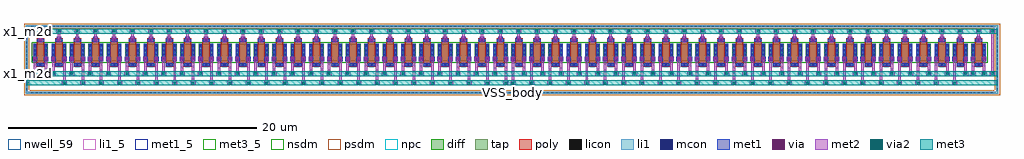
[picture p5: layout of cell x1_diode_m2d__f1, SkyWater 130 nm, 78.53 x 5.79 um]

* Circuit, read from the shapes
.subckt x1_diode_m2d__f1 VSS_body bias_d x1_m2d
XM1 x1_m2d x1_m2d x1_m2d VSS_body sky130_fd_pr__nfet_01v8 w=1.4 l=0.6 m=2
XM2 bias_d x1_m2d x1_m2d VSS_body sky130_fd_pr__nfet_01v8 w=1.4 l=0.6 m=50
.ends

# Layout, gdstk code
from math import pi, radians
import gdstk
lib = gdstk.Library(unit=1e-6, precision=1e-09)
def R(c, l, rs):  # rectangles x0, y0, x1, y1
    for r in rs: c.add(gdstk.rectangle(r[:2], r[2:], *l))
def A(c, l, x, y, w, h, nx, ny, dx, dy):  # array of equal rectangles
    R(c, l, [(x+i*dx, y+j*dy, x+i*dx+w, y+j*dy+h) for i in range(nx) for j in range(ny)])
nwell_59 = (64, 59)
diff = (65, 20)
tap = (65, 44)
poly = (66, 20)
licon = (66, 44)
li1_5 = (67, 5)
li1 = (67, 20)
mcon = (67, 44)
met1_5 = (68, 5)
met1 = (68, 20)
via = (68, 44)
met2 = (69, 20)
via2 = (69, 44)
met3_5 = (70, 5)
met3 = (70, 20)
nsdm = (93, 44)
psdm = (94, 20)
npc = (95, 20)

sky130_fd_pr__nfet_01v8_ = lib.new_cell('sky130_fd_pr__nfet_01v8_KCM6UP')
R(sky130_fd_pr__nfet_01v8_, diff, [(-0.59,-0.7,0.59,0.7)])
R(sky130_fd_pr__nfet_01v8_, poly, [(-0.3,-1.14,0.3,1.14)])
A(sky130_fd_pr__nfet_01v8_, licon, -0.53, -0.595, 0.17, 0.17, 1, 4, 0, 0.34)
A(sky130_fd_pr__nfet_01v8_, licon, 0.36, -0.595, 0.17, 0.17, 1, 4, 0, 0.34)
R(sky130_fd_pr__nfet_01v8_, licon, [(-0.085,-1.06,0.085,-0.89), (-0.085,0.89,0.085,1.06)])
R(sky130_fd_pr__nfet_01v8_, li1, [(-0.3,-1.06,0.3,-0.89), (-0.53,-0.72,-0.36,0.72), (0.36,-0.72,0.53,0.72), (-0.3,0.89,0.3,1.06)])
A(sky130_fd_pr__nfet_01v8_, mcon, -0.53, -0.625, 0.17, 0.17, 1, 4, 0, 0.36)
A(sky130_fd_pr__nfet_01v8_, mcon, 0.36, -0.625, 0.17, 0.17, 1, 4, 0, 0.36)
R(sky130_fd_pr__nfet_01v8_, mcon, [(-0.085,-1.06,0.085,-0.89), (-0.085,0.89,0.085,1.06)])
R(sky130_fd_pr__nfet_01v8_, met1, [(-0.28,-1.09,0.28,-0.86), (-0.56,-0.7,-0.33,0.7), (0.33,-0.7,0.56,0.7), (-0.28,0.86,0.28,1.09)])
R(sky130_fd_pr__nfet_01v8_, nsdm, [(-0.715,-0.825,0.715,0.825)])
R(sky130_fd_pr__nfet_01v8_, npc, [(-0.185,-1.16,0.185,-0.79), (-0.185,0.79,0.185,1.16)])
sky130_fd_pr__nfet_01v8_.add(gdstk.Label('D', (-0.445,0), layer=67, texttype=5))
sky130_fd_pr__nfet_01v8_.add(gdstk.Label('S', (0.445,0), layer=67, texttype=5))
sky130_fd_pr__nfet_01v8_.add(gdstk.Label('G', (0,0.975), layer=67, texttype=5))

nfet_01v8_w1p4_l0p6_m2__ = lib.new_cell('nfet_01v8_W1p4_L0p6_m2__nf1_gboth_sdfull_ng')
R(nfet_01v8_w1p4_l0p6_m2__, nwell_59, [(0.05,1.09,0.15,1.19)])
R(nfet_01v8_w1p4_l0p6_m2__, met1_5, [(0.03,1.14,0.26,1.34), (0.92,1.14,1.15,1.34), (0.31,2,0.87,2.23)])
R(nfet_01v8_w1p4_l0p6_m2__, met1, [(0.03,1.14,0.26,1.34), (0.92,1.14,1.15,1.34), (0.31,2,0.87,2.23)])
nfet_01v8_w1p4_l0p6_m2__.add(gdstk.Reference(sky130_fd_pr__nfet_01v8_, (0.59,1.14)))
nfet_01v8_w1p4_l0p6_m2__.add(gdstk.Label('D', (0.145,1.24), layer=68, texttype=5))
nfet_01v8_w1p4_l0p6_m2__.add(gdstk.Label('S', (1.035,1.24), layer=68, texttype=5))
nfet_01v8_w1p4_l0p6_m2__.add(gdstk.Label('G', (0.59,2.115), layer=68, texttype=5))
nfet_01v8_w1p4_l0p6_m2__.add(gdstk.Label('B', (0.1,1.14), layer=64, texttype=59))

nfet_01v8_w1p4_l0p6_m50_ = lib.new_cell('nfet_01v8_W1p4_L0p6_m50__nf1_gboth_sdfull_ng')
R(nfet_01v8_w1p4_l0p6_m50_, nwell_59, [(0.05,1.09,0.15,1.19)])
R(nfet_01v8_w1p4_l0p6_m50_, met1_5, [(0.03,1.14,0.26,1.34), (0.92,1.14,1.15,1.34), (0.31,2,0.87,2.23)])
R(nfet_01v8_w1p4_l0p6_m50_, met1, [(0.03,1.14,0.26,1.34), (0.92,1.14,1.15,1.34), (0.31,2,0.87,2.23)])
nfet_01v8_w1p4_l0p6_m50_.add(gdstk.Reference(sky130_fd_pr__nfet_01v8_, (0.59,1.14)))
nfet_01v8_w1p4_l0p6_m50_.add(gdstk.Label('D', (0.145,1.24), layer=68, texttype=5))
nfet_01v8_w1p4_l0p6_m50_.add(gdstk.Label('S', (1.035,1.24), layer=68, texttype=5))
nfet_01v8_w1p4_l0p6_m50_.add(gdstk.Label('G', (0.59,2.115), layer=68, texttype=5))
nfet_01v8_w1p4_l0p6_m50_.add(gdstk.Label('B', (0.1,1.14), layer=64, texttype=59))

x1_diode_m2d__f1 = lib.new_cell('x1_diode_m2d__f1')
R(x1_diode_m2d__f1, tap, [(-0.485,-2.185,77.795,-2.015), (-0.485,-2.015,-0.315,3.185), (77.625,-2.015,77.795,3.185), (-0.485,3.185,77.795,3.355)])
A(x1_diode_m2d__f1, licon, -0.02, -2.185, 0.17, 0.17, 228, 2, 0.34, 5.37)
A(x1_diode_m2d__f1, licon, -0.485, -1.88, 0.17, 0.17, 1, 15, 0, 0.34)
A(x1_diode_m2d__f1, licon, 77.625, -1.88, 0.17, 0.17, 1, 15, 0, 0.34)
R(x1_diode_m2d__f1, li1_5, [(38.605,-2.15,38.705,-2.05)])
R(x1_diode_m2d__f1, li1, [(-0.485,-2.185,77.795,-2.015), (-0.485,-2.015,-0.315,3.185), (77.625,-2.015,77.795,3.185), (-0.485,3.185,77.795,3.355)])
A(x1_diode_m2d__f1, met1, 0.535, 2.05, 0.36, 0.36, 52, 1, 1.48, 0)
R(x1_diode_m2d__f1, met1, [(0.09,0.46,0.45,0.82), (0.98,0.46,1.34,0.82), (1.57,0.46,1.93,0.82), (2.46,0.46,2.82,0.82), (3.05,0.46,3.41,0.82), (3.94,0.46,4.3,0.82), (4.53,0.46,4.89,0.82), (5.42,0.46,5.78,0.82), (6.01,0.46,6.37,0.82), (6.9,0.46,7.26,0.82), (7.49,0.46,7.85,0.82), (8.38,0.46,8.74,0.82), (8.97,0.46,9.33,0.82), (9.86,0.46,10.22,0.82), (10.45,0.46,10.81,0.82), (11.34,0.46,11.7,0.82), (11.93,0.46,12.29,0.82), (12.82,0.46,13.18,0.82), (13.41,0.46,13.77,0.82), (14.3,0.46,14.66,0.82), (14.89,0.46,15.25,0.82), (15.78,0.46,16.14,0.82), (16.37,0.46,16.73,0.82), (17.26,0.46,17.62,0.82), (17.85,0.46,18.21,0.82), (18.74,0.46,19.1,0.82), (19.33,0.46,19.69,0.82), (20.22,0.46,20.58,0.82), (20.81,0.46,21.17,0.82), (21.7,0.46,22.06,0.82), (22.29,0.46,22.65,0.82), (23.18,0.46,23.54,0.82), (23.77,0.46,24.13,0.82), (24.66,0.46,25.02,0.82), (25.25,0.46,25.61,0.82), (26.14,0.46,26.5,0.82), (26.73,0.46,27.09,0.82), (27.62,0.46,27.98,0.82), (28.21,0.46,28.57,0.82), (29.1,0.46,29.46,0.82), (29.69,0.46,30.05,0.82), (30.58,0.46,30.94,0.82), (31.17,0.46,31.53,0.82), (32.06,0.46,32.42,0.82), (32.65,0.46,33.01,0.82), (33.54,0.46,33.9,0.82), (34.13,0.46,34.49,0.82), (35.02,0.46,35.38,0.82), (35.61,0.46,35.97,0.82), (36.5,0.46,36.86,0.82), (37.09,0.46,37.45,0.82), (37.98,0.46,38.34,0.82), (38.57,0.46,38.93,0.82), (39.46,0.46,39.82,0.82), (40.05,0.46,40.41,0.82), (40.94,0.46,41.3,0.82), (41.53,0.46,41.89,0.82), (42.42,0.46,42.78,0.82), (43.01,0.46,43.37,0.82), (43.9,0.46,44.26,0.82), (44.49,0.46,44.85,0.82), (45.38,0.46,45.74,0.82), (45.97,0.46,46.33,0.82), (46.86,0.46,47.22,0.82), (47.45,0.46,47.81,0.82), (48.34,0.46,48.7,0.82), (48.93,0.46,49.29,0.82), (49.82,0.46,50.18,0.82), (50.41,0.46,50.77,0.82), (51.3,0.46,51.66,0.82), (51.89,0.46,52.25,0.82), (52.78,0.46,53.14,0.82), (53.37,0.46,53.73,0.82), (54.26,0.46,54.62,0.82), (54.85,0.46,55.21,0.82), (55.74,0.46,56.1,0.82), (56.33,0.46,56.69,0.82), (57.22,0.46,57.58,0.82), (57.81,0.46,58.17,0.82), (58.7,0.46,59.06,0.82), (59.29,0.46,59.65,0.82), (60.18,0.46,60.54,0.82), (60.77,0.46,61.13,0.82), (61.66,0.46,62.02,0.82), (62.25,0.46,62.61,0.82), (63.14,0.46,63.5,0.82), (63.73,0.46,64.09,0.82), (64.62,0.46,64.98,0.82), (65.21,0.46,65.57,0.82), (66.1,0.46,66.46,0.82), (66.69,0.46,67.05,0.82), (67.58,0.46,67.94,0.82), (68.17,0.46,68.53,0.82), (69.06,0.46,69.42,0.82), (69.65,0.46,70.01,0.82), (70.54,0.46,70.9,0.82), (71.13,0.46,71.49,0.82), (72.02,0.46,72.38,0.82), (72.61,0.46,72.97,0.82), (73.5,0.46,73.86,0.82), (74.09,0.46,74.45,0.82), (74.98,0.46,75.34,0.82), (75.57,0.46,75.93,0.82), (76.46,0.46,76.82,0.82)])
A(x1_diode_m2d__f1, via, 0.64, 2.155, 0.15, 0.15, 52, 1, 1.48, 0)
R(x1_diode_m2d__f1, via, [(0.195,0.565,0.345,0.715), (1.085,0.565,1.235,0.715), (1.675,0.565,1.825,0.715), (2.565,0.565,2.715,0.715), (3.155,0.565,3.305,0.715), (4.045,0.565,4.195,0.715), (4.635,0.565,4.785,0.715), (5.525,0.565,5.675,0.715), (6.115,0.565,6.265,0.715), (7.005,0.565,7.155,0.715), (7.595,0.565,7.745,0.715), (8.485,0.565,8.635,0.715), (9.075,0.565,9.225,0.715), (9.965,0.565,10.115,0.715), (10.555,0.565,10.705,0.715), (11.445,0.565,11.595,0.715), (12.035,0.565,12.185,0.715), (12.925,0.565,13.075,0.715), (13.515,0.565,13.665,0.715), (14.405,0.565,14.555,0.715), (14.995,0.565,15.145,0.715), (15.885,0.565,16.035,0.715), (16.475,0.565,16.625,0.715), (17.365,0.565,17.515,0.715), (17.955,0.565,18.105,0.715), (18.845,0.565,18.995,0.715), (19.435,0.565,19.585,0.715), (20.325,0.565,20.475,0.715), (20.915,0.565,21.065,0.715), (21.805,0.565,21.955,0.715), (22.395,0.565,22.545,0.715), (23.285,0.565,23.435,0.715), (23.875,0.565,24.025,0.715), (24.765,0.565,24.915,0.715), (25.355,0.565,25.505,0.715), (26.245,0.565,26.395,0.715), (26.835,0.565,26.985,0.715), (27.725,0.565,27.875,0.715), (28.315,0.565,28.465,0.715), (29.205,0.565,29.355,0.715), (29.795,0.565,29.945,0.715), (30.685,0.565,30.835,0.715), (31.275,0.565,31.425,0.715), (32.165,0.565,32.315,0.715), (32.755,0.565,32.905,0.715), (33.645,0.565,33.795,0.715), (34.235,0.565,34.385,0.715), (35.125,0.565,35.275,0.715), (35.715,0.565,35.865,0.715), (36.605,0.565,36.755,0.715), (37.195,0.565,37.345,0.715), (38.085,0.565,38.235,0.715), (38.675,0.565,38.825,0.715), (39.565,0.565,39.715,0.715), (40.155,0.565,40.305,0.715), (41.045,0.565,41.195,0.715), (41.635,0.565,41.785,0.715), (42.525,0.565,42.675,0.715), (43.115,0.565,43.265,0.715), (44.005,0.565,44.155,0.715), (44.595,0.565,44.745,0.715), (45.485,0.565,45.635,0.715), (46.075,0.565,46.225,0.715), (46.965,0.565,47.115,0.715), (47.555,0.565,47.705,0.715), (48.445,0.565,48.595,0.715), (49.035,0.565,49.185,0.715), (49.925,0.565,50.075,0.715), (50.515,0.565,50.665,0.715), (51.405,0.565,51.555,0.715), (51.995,0.565,52.145,0.715), (52.885,0.565,53.035,0.715), (53.475,0.565,53.625,0.715), (54.365,0.565,54.515,0.715), (54.955,0.565,55.105,0.715), (55.845,0.565,55.995,0.715), (56.435,0.565,56.585,0.715), (57.325,0.565,57.475,0.715), (57.915,0.565,58.065,0.715), (58.805,0.565,58.955,0.715), (59.395,0.565,59.545,0.715), (60.285,0.565,60.435,0.715), (60.875,0.565,61.025,0.715), (61.765,0.565,61.915,0.715), (62.355,0.565,62.505,0.715), (63.245,0.565,63.395,0.715), (63.835,0.565,63.985,0.715), (64.725,0.565,64.875,0.715), (65.315,0.565,65.465,0.715), (66.205,0.565,66.355,0.715), (66.795,0.565,66.945,0.715), (67.685,0.565,67.835,0.715), (68.275,0.565,68.425,0.715), (69.165,0.565,69.315,0.715), (69.755,0.565,69.905,0.715), (70.645,0.565,70.795,0.715), (71.235,0.565,71.385,0.715), (72.125,0.565,72.275,0.715), (72.715,0.565,72.865,0.715), (73.605,0.565,73.755,0.715), (74.195,0.565,74.345,0.715), (75.085,0.565,75.235,0.715), (75.675,0.565,75.825,0.715), (76.565,0.565,76.715,0.715)])
A(x1_diode_m2d__f1, met2, 2.44, -1.5, 0.4, 0.4, 25, 1, 1.48, 0)
A(x1_diode_m2d__f1, met2, 38.55, -1.5, 0.4, 0.4, 25, 1, 1.48, 0)
A(x1_diode_m2d__f1, met2, 2.54, -1.1, 0.2, 1.58, 25, 1, 1.48, 0)
A(x1_diode_m2d__f1, met2, 38.65, -1.1, 0.2, 1.58, 25, 1, 1.48, 0)
A(x1_diode_m2d__f1, met2, 1.55, -0.75, 0.4, 0.4, 25, 1, 1.48, 0)
A(x1_diode_m2d__f1, met2, 39.44, -0.75, 0.4, 0.4, 25, 1, 1.48, 0)
A(x1_diode_m2d__f1, met2, 1.65, -0.35, 0.2, 0.83, 25, 1, 1.48, 0)
A(x1_diode_m2d__f1, met2, 39.54, -0.35, 0.2, 0.83, 25, 1, 1.48, 0)
A(x1_diode_m2d__f1, met2, 0.585, 2.07, 0.26, 0.32, 52, 1, 1.48, 0)
A(x1_diode_m2d__f1, met2, 0.615, 2.39, 0.2, 0.28, 52, 1, 1.48, 0)
A(x1_diode_m2d__f1, met2, 0.515, 2.67, 0.4, 0.4, 52, 1, 1.48, 0)
R(x1_diode_m2d__f1, met2, [(0.07,-0.75,0.47,-0.35), (0.96,-0.75,1.36,-0.35), (75.55,-0.75,75.95,-0.35), (76.44,-0.75,76.84,-0.35), (77.11,-0.75,77.51,-0.35), (0.17,-0.35,0.37,0.48), (1.06,-0.35,1.26,0.48), (75.65,-0.35,75.85,0.48), (76.54,-0.35,76.74,0.48), (77.21,-0.35,77.41,2.67), (0.14,0.48,0.4,0.8), (1.03,0.48,1.29,0.8), (1.62,0.48,1.88,0.8), (2.51,0.48,2.77,0.8), (3.1,0.48,3.36,0.8), (3.99,0.48,4.25,0.8), (4.58,0.48,4.84,0.8), (5.47,0.48,5.73,0.8), (6.06,0.48,6.32,0.8), (6.95,0.48,7.21,0.8), (7.54,0.48,7.8,0.8), (8.43,0.48,8.69,0.8), (9.02,0.48,9.28,0.8), (9.91,0.48,10.17,0.8), (10.5,0.48,10.76,0.8), (11.39,0.48,11.65,0.8), (11.98,0.48,12.24,0.8), (12.87,0.48,13.13,0.8), (13.46,0.48,13.72,0.8), (14.35,0.48,14.61,0.8), (14.94,0.48,15.2,0.8), (15.83,0.48,16.09,0.8), (16.42,0.48,16.68,0.8), (17.31,0.48,17.57,0.8), (17.9,0.48,18.16,0.8), (18.79,0.48,19.05,0.8), (19.38,0.48,19.64,0.8), (20.27,0.48,20.53,0.8), (20.86,0.48,21.12,0.8), (21.75,0.48,22.01,0.8), (22.34,0.48,22.6,0.8), (23.23,0.48,23.49,0.8), (23.82,0.48,24.08,0.8), (24.71,0.48,24.97,0.8), (25.3,0.48,25.56,0.8), (26.19,0.48,26.45,0.8), (26.78,0.48,27.04,0.8), (27.67,0.48,27.93,0.8), (28.26,0.48,28.52,0.8), (29.15,0.48,29.41,0.8), (29.74,0.48,30,0.8), (30.63,0.48,30.89,0.8), (31.22,0.48,31.48,0.8), (32.11,0.48,32.37,0.8), (32.7,0.48,32.96,0.8), (33.59,0.48,33.85,0.8), (34.18,0.48,34.44,0.8), (35.07,0.48,35.33,0.8), (35.66,0.48,35.92,0.8), (36.55,0.48,36.81,0.8), (37.14,0.48,37.4,0.8), (38.03,0.48,38.29,0.8), (38.62,0.48,38.88,0.8), (39.51,0.48,39.77,0.8), (40.1,0.48,40.36,0.8), (40.99,0.48,41.25,0.8), (41.58,0.48,41.84,0.8), (42.47,0.48,42.73,0.8), (43.06,0.48,43.32,0.8), (43.95,0.48,44.21,0.8), (44.54,0.48,44.8,0.8), (45.43,0.48,45.69,0.8), (46.02,0.48,46.28,0.8), (46.91,0.48,47.17,0.8), (47.5,0.48,47.76,0.8), (48.39,0.48,48.65,0.8), (48.98,0.48,49.24,0.8), (49.87,0.48,50.13,0.8), (50.46,0.48,50.72,0.8), (51.35,0.48,51.61,0.8), (51.94,0.48,52.2,0.8), (52.83,0.48,53.09,0.8), (53.42,0.48,53.68,0.8), (54.31,0.48,54.57,0.8), (54.9,0.48,55.16,0.8), (55.79,0.48,56.05,0.8), (56.38,0.48,56.64,0.8), (57.27,0.48,57.53,0.8), (57.86,0.48,58.12,0.8), (58.75,0.48,59.01,0.8), (59.34,0.48,59.6,0.8), (60.23,0.48,60.49,0.8), (60.82,0.48,61.08,0.8), (61.71,0.48,61.97,0.8), (62.3,0.48,62.56,0.8), (63.19,0.48,63.45,0.8), (63.78,0.48,64.04,0.8), (64.67,0.48,64.93,0.8), (65.26,0.48,65.52,0.8), (66.15,0.48,66.41,0.8), (66.74,0.48,67,0.8), (67.63,0.48,67.89,0.8), (68.22,0.48,68.48,0.8), (69.11,0.48,69.37,0.8), (69.7,0.48,69.96,0.8), (70.59,0.48,70.85,0.8), (71.18,0.48,71.44,0.8), (72.07,0.48,72.33,0.8), (72.66,0.48,72.92,0.8), (73.55,0.48,73.81,0.8), (74.14,0.48,74.4,0.8), (75.03,0.48,75.29,0.8), (75.62,0.48,75.88,0.8), (76.51,0.48,76.77,0.8), (77.11,2.67,77.51,3.07)])
A(x1_diode_m2d__f1, via2, 2.54, -1.4, 0.2, 0.2, 25, 1, 1.48, 0)
A(x1_diode_m2d__f1, via2, 38.65, -1.4, 0.2, 0.2, 25, 1, 1.48, 0)
A(x1_diode_m2d__f1, via2, 1.65, -0.65, 0.2, 0.2, 25, 1, 1.48, 0)
A(x1_diode_m2d__f1, via2, 39.54, -0.65, 0.2, 0.2, 25, 1, 1.48, 0)
A(x1_diode_m2d__f1, via2, 0.615, 2.77, 0.2, 0.2, 52, 1, 1.48, 0)
R(x1_diode_m2d__f1, via2, [(0.17,-0.65,0.37,-0.45), (1.06,-0.65,1.26,-0.45), (75.65,-0.65,75.85,-0.45), (76.54,-0.65,76.74,-0.45), (77.21,-0.65,77.41,-0.45), (77.21,2.77,77.41,2.97)])
R(x1_diode_m2d__f1, met3_5, [(-0.3,-1.35,-0.2,-1.25), (-0.3,-0.6,-0.2,-0.5), (-0.3,2.82,-0.2,2.92)])
R(x1_diode_m2d__f1, met3, [(-0.4,-1.5,77.71,-1.1), (-0.4,-0.75,77.71,-0.35), (-0.4,2.67,77.71,3.07)])
A(x1_diode_m2d__f1, nsdm, 1.435, 0.315, 0.05, 1.65, 51, 1, 1.48, 0)
R(x1_diode_m2d__f1, psdm, [(-0.61,-2.31,77.92,-1.89), (-0.61,-1.89,-0.19,3.06), (77.5,-1.89,77.92,3.06), (-0.61,3.06,77.92,3.48)])
x1_diode_m2d__f1.add(gdstk.Reference(nfet_01v8_w1p4_l0p6_m2__, (75.61,0)))
x1_diode_m2d__f1.add(gdstk.Reference(nfet_01v8_w1p4_l0p6_m2__, (0.13,0)))
x1_diode_m2d__f1.add(gdstk.Reference(nfet_01v8_w1p4_l0p6_m50_, (1.61,0)))
x1_diode_m2d__f1.add(gdstk.Reference(nfet_01v8_w1p4_l0p6_m50_, (3.09,0)))
x1_diode_m2d__f1.add(gdstk.Reference(nfet_01v8_w1p4_l0p6_m50_, (4.57,0)))
x1_diode_m2d__f1.add(gdstk.Reference(nfet_01v8_w1p4_l0p6_m50_, (6.05,0)))
x1_diode_m2d__f1.add(gdstk.Reference(nfet_01v8_w1p4_l0p6_m50_, (7.53,0)))
x1_diode_m2d__f1.add(gdstk.Reference(nfet_01v8_w1p4_l0p6_m50_, (9.01,0)))
x1_diode_m2d__f1.add(gdstk.Reference(nfet_01v8_w1p4_l0p6_m50_, (10.49,0)))
x1_diode_m2d__f1.add(gdstk.Reference(nfet_01v8_w1p4_l0p6_m50_, (11.97,0)))
x1_diode_m2d__f1.add(gdstk.Reference(nfet_01v8_w1p4_l0p6_m50_, (13.45,0)))
x1_diode_m2d__f1.add(gdstk.Reference(nfet_01v8_w1p4_l0p6_m50_, (14.93,0)))
x1_diode_m2d__f1.add(gdstk.Reference(nfet_01v8_w1p4_l0p6_m50_, (16.41,0)))
x1_diode_m2d__f1.add(gdstk.Reference(nfet_01v8_w1p4_l0p6_m50_, (17.89,0)))
x1_diode_m2d__f1.add(gdstk.Reference(nfet_01v8_w1p4_l0p6_m50_, (19.37,0)))
x1_diode_m2d__f1.add(gdstk.Reference(nfet_01v8_w1p4_l0p6_m50_, (20.85,0)))
x1_diode_m2d__f1.add(gdstk.Reference(nfet_01v8_w1p4_l0p6_m50_, (22.33,0)))
x1_diode_m2d__f1.add(gdstk.Reference(nfet_01v8_w1p4_l0p6_m50_, (23.81,0)))
x1_diode_m2d__f1.add(gdstk.Reference(nfet_01v8_w1p4_l0p6_m50_, (25.29,0)))
x1_diode_m2d__f1.add(gdstk.Reference(nfet_01v8_w1p4_l0p6_m50_, (26.77,0)))
x1_diode_m2d__f1.add(gdstk.Reference(nfet_01v8_w1p4_l0p6_m50_, (28.25,0)))
x1_diode_m2d__f1.add(gdstk.Reference(nfet_01v8_w1p4_l0p6_m50_, (29.73,0)))
x1_diode_m2d__f1.add(gdstk.Reference(nfet_01v8_w1p4_l0p6_m50_, (31.21,0)))
x1_diode_m2d__f1.add(gdstk.Reference(nfet_01v8_w1p4_l0p6_m50_, (32.69,0)))
x1_diode_m2d__f1.add(gdstk.Reference(nfet_01v8_w1p4_l0p6_m50_, (34.17,0)))
x1_diode_m2d__f1.add(gdstk.Reference(nfet_01v8_w1p4_l0p6_m50_, (35.65,0)))
x1_diode_m2d__f1.add(gdstk.Reference(nfet_01v8_w1p4_l0p6_m50_, (37.13,0)))
x1_diode_m2d__f1.add(gdstk.Reference(nfet_01v8_w1p4_l0p6_m50_, (39.79,0), rotation=pi, x_reflection=True))
x1_diode_m2d__f1.add(gdstk.Reference(nfet_01v8_w1p4_l0p6_m50_, (41.27,0), rotation=pi, x_reflection=True))
x1_diode_m2d__f1.add(gdstk.Reference(nfet_01v8_w1p4_l0p6_m50_, (42.75,0), rotation=pi, x_reflection=True))
x1_diode_m2d__f1.add(gdstk.Reference(nfet_01v8_w1p4_l0p6_m50_, (44.23,0), rotation=pi, x_reflection=True))
x1_diode_m2d__f1.add(gdstk.Reference(nfet_01v8_w1p4_l0p6_m50_, (45.71,0), rotation=pi, x_reflection=True))
x1_diode_m2d__f1.add(gdstk.Reference(nfet_01v8_w1p4_l0p6_m50_, (47.19,0), rotation=pi, x_reflection=True))
x1_diode_m2d__f1.add(gdstk.Reference(nfet_01v8_w1p4_l0p6_m50_, (48.67,0), rotation=pi, x_reflection=True))
x1_diode_m2d__f1.add(gdstk.Reference(nfet_01v8_w1p4_l0p6_m50_, (50.15,0), rotation=pi, x_reflection=True))
x1_diode_m2d__f1.add(gdstk.Reference(nfet_01v8_w1p4_l0p6_m50_, (51.63,0), rotation=pi, x_reflection=True))
x1_diode_m2d__f1.add(gdstk.Reference(nfet_01v8_w1p4_l0p6_m50_, (53.11,0), rotation=pi, x_reflection=True))
x1_diode_m2d__f1.add(gdstk.Reference(nfet_01v8_w1p4_l0p6_m50_, (54.59,0), rotation=pi, x_reflection=True))
x1_diode_m2d__f1.add(gdstk.Reference(nfet_01v8_w1p4_l0p6_m50_, (56.07,0), rotation=pi, x_reflection=True))
x1_diode_m2d__f1.add(gdstk.Reference(nfet_01v8_w1p4_l0p6_m50_, (57.55,0), rotation=pi, x_reflection=True))
x1_diode_m2d__f1.add(gdstk.Reference(nfet_01v8_w1p4_l0p6_m50_, (59.03,0), rotation=pi, x_reflection=True))
x1_diode_m2d__f1.add(gdstk.Reference(nfet_01v8_w1p4_l0p6_m50_, (60.51,0), rotation=pi, x_reflection=True))
x1_diode_m2d__f1.add(gdstk.Reference(nfet_01v8_w1p4_l0p6_m50_, (61.99,0), rotation=pi, x_reflection=True))
x1_diode_m2d__f1.add(gdstk.Reference(nfet_01v8_w1p4_l0p6_m50_, (63.47,0), rotation=pi, x_reflection=True))
x1_diode_m2d__f1.add(gdstk.Reference(nfet_01v8_w1p4_l0p6_m50_, (64.95,0), rotation=pi, x_reflection=True))
x1_diode_m2d__f1.add(gdstk.Reference(nfet_01v8_w1p4_l0p6_m50_, (66.43,0), rotation=pi, x_reflection=True))
x1_diode_m2d__f1.add(gdstk.Reference(nfet_01v8_w1p4_l0p6_m50_, (67.91,0), rotation=pi, x_reflection=True))
x1_diode_m2d__f1.add(gdstk.Reference(nfet_01v8_w1p4_l0p6_m50_, (69.39,0), rotation=pi, x_reflection=True))
x1_diode_m2d__f1.add(gdstk.Reference(nfet_01v8_w1p4_l0p6_m50_, (70.87,0), rotation=pi, x_reflection=True))
x1_diode_m2d__f1.add(gdstk.Reference(nfet_01v8_w1p4_l0p6_m50_, (72.35,0), rotation=pi, x_reflection=True))
x1_diode_m2d__f1.add(gdstk.Reference(nfet_01v8_w1p4_l0p6_m50_, (73.83,0), rotation=pi, x_reflection=True))
x1_diode_m2d__f1.add(gdstk.Reference(nfet_01v8_w1p4_l0p6_m50_, (75.31,0), rotation=pi, x_reflection=True))
x1_diode_m2d__f1.add(gdstk.Label('x1_m2d', (-0.25,2.87), layer=70, texttype=5))
x1_diode_m2d__f1.add(gdstk.Label('x1_m2d', (-0.25,-0.55), layer=70, texttype=5))
x1_diode_m2d__f1.add(gdstk.Label('bias_d', (-0.25,-1.3), layer=70, texttype=5))
x1_diode_m2d__f1.add(gdstk.Label('VSS_body', (38.655,-2.1), layer=67, texttype=5))

lib.write_gds('x1_diode_m2d__f1.gds')
